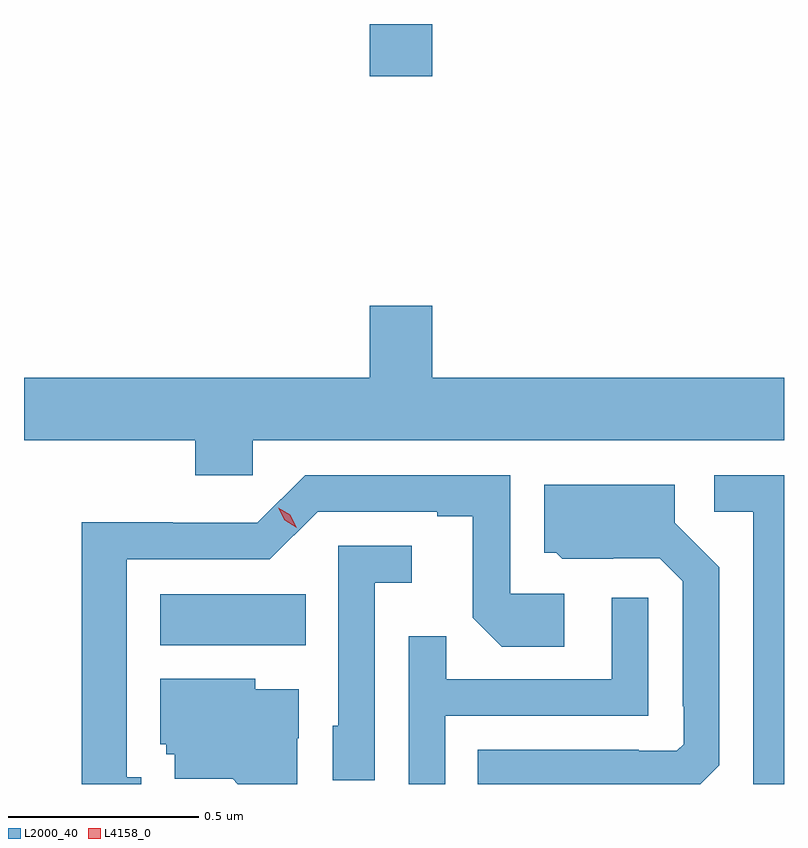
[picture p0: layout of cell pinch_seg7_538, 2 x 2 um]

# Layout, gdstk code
import gdstk
lib = gdstk.Library(unit=1e-6, precision=1e-09)
def R(c, l, rs):  # rectangles x0, y0, x1, y1
    for r in rs: c.add(gdstk.rectangle(r[:2], r[2:], *l))
def P(c, l, *ps):  # polygons
    for p in ps: c.add(gdstk.Polygon(p, *l))
L2000_40 = (2000, 40)
L4158_0 = (4158, 0)

pinch_seg7_538 = lib.new_cell('pinch_seg7_538')
R(pinch_seg7_538, L2000_40, [(128.492,1061.348,128.876,1061.482), (129.044,1062.846,129.208,1062.983)])
P(pinch_seg7_538, L2000_40, [(128.736,1061.888),(130.134,1061.888),(130.134,1062.052),(129.208,1062.052),(129.208,1062.241),(129.044,1062.241),(129.044,1062.052),(128.134,1062.052),(128.134,1061.888),(128.585,1061.888),(128.585,1061.795),(128.736,1061.795)],
  [(128.443,1061.001),(128.404,1061.001),(128.404,1061.574),(128.781,1061.574),(128.907,1061.7),(129.221,1061.7),(129.221,1061.688),(129.315,1061.688),(129.315,1061.42),(129.391,1061.344),(129.556,1061.344),(129.556,1061.484),(129.414,1061.484),(129.414,1061.796),(128.874,1061.796),(128.748,1061.67),(128.526,1061.67),(128.526,1061.672),(128.286,1061.672),(128.286,1060.983),(128.443,1060.983)],
  [(130.134,1061.796),(129.951,1061.796),(129.951,1061.7),(130.053,1061.7),(130.053,1060.983),(130.134,1060.983)],
  [(129.963,1061.032),(129.963,1061.554),(129.847,1061.67),(129.847,1061.77),(129.503,1061.77),(129.503,1061.592),(129.534,1061.592),(129.55,1061.576),(129.684,1061.576),(129.684,1061.577),(129.807,1061.577),(129.867,1061.517),(129.867,1061.188),(129.87,1061.188),(129.87,1061.088),(129.852,1061.07),(129.752,1061.07),(129.752,1061.073),(129.328,1061.073),(129.328,1060.983),(129.914,1060.983)],
  [(129.057,1061.513),(129.154,1061.513),(129.154,1061.61),(128.961,1061.61),(128.961,1061.136),(128.946,1061.136),(128.946,1060.993),(129.057,1060.993)],
  [(129.243,1061.163),(129.777,1061.163),(129.777,1061.473),(129.681,1061.473),(129.681,1061.259),(129.245,1061.259),(129.245,1061.372),(129.147,1061.372),(129.147,1060.983),(129.243,1060.983)],
  [(128.853,1061.104),(128.857,1061.104),(128.857,1061.233),(128.742,1061.233),(128.742,1061.26),(128.492,1061.26),(128.492,1061.088),(128.508,1061.088),(128.508,1061.061),(128.531,1061.061),(128.531,1060.997),(128.683,1060.997),(128.697,1060.983),(128.853,1060.983)])
P(pinch_seg7_538, L4158_0, [(128.852,1061.658),(128.82,1061.677),(128.803,1061.71),(128.803,1061.71),(128.803,1061.71),(128.834,1061.691),(128.852,1061.658),(128.852,1061.658)])

lib.write_gds('pinch_seg7_538.gds')
